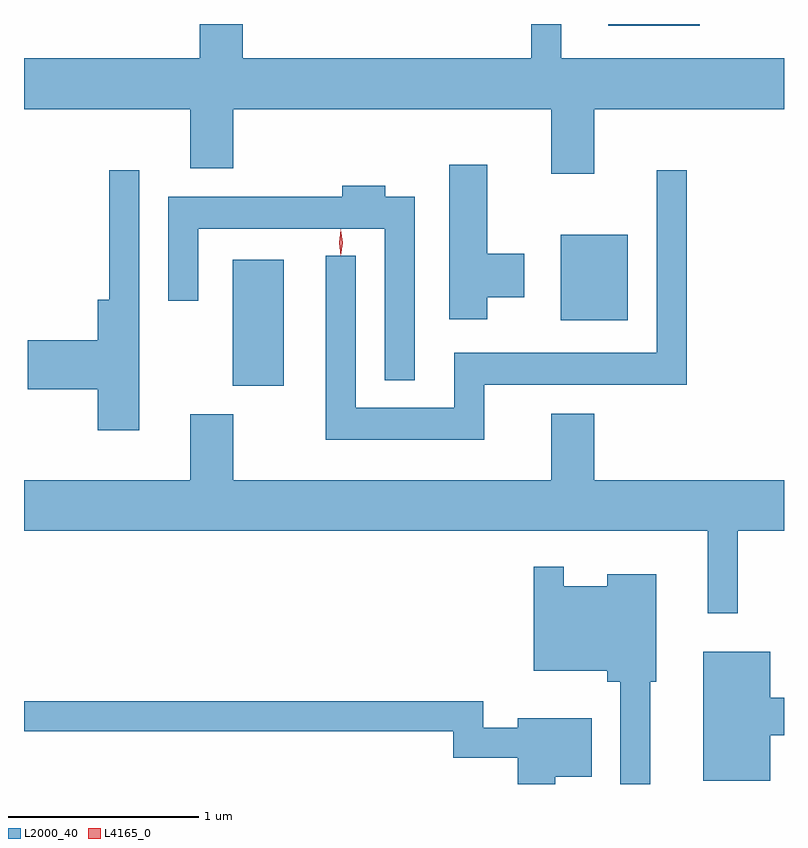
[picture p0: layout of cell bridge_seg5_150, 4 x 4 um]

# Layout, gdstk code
import gdstk
lib = gdstk.Library(unit=1e-6, precision=1e-09)
def R(c, l, rs):  # rectangles x0, y0, x1, y1
    for r in rs: c.add(gdstk.rectangle(r[:2], r[2:], *l))
def P(c, l, *ps):  # polygons
    for p in ps: c.add(gdstk.Polygon(p, *l))
L2000_40 = (2000, 40)
L4165_0 = (4165, 0)

bridge_seg5_150 = lib.new_cell('bridge_seg5_150')
R(bridge_seg5_150, L2000_40, [(1170.976,1413.161,1171.244,1413.824), (1172.701,1413.506,1173.054,1413.954), (1172.951,1415.056,1173.434,1415.064)])
P(bridge_seg5_150, L2000_40, [(1170.801,1414.884),(1169.877,1414.884),(1169.877,1414.616),(1170.751,1414.616),(1170.751,1414.306),(1170.979,1414.306),(1170.979,1414.616),(1172.651,1414.616),(1172.651,1414.276),(1172.879,1414.276),(1172.879,1414.616),(1173.877,1414.616),(1173.877,1414.884),(1172.704,1414.884),(1172.704,1415.064),(1172.546,1415.064),(1172.546,1414.884),(1171.029,1414.884),(1171.029,1415.064),(1170.801,1415.064)],
  [(1172.314,1413.626),(1172.509,1413.626),(1172.509,1413.854),(1172.314,1413.854),(1172.314,1414.324),(1172.116,1414.324),(1172.116,1413.511),(1172.314,1413.511)],
  [(1172.299,1413.166),(1173.364,1413.166),(1173.364,1414.293),(1173.206,1414.293),(1173.206,1413.334),(1172.141,1413.334),(1172.141,1413.044),(1171.624,1413.044),(1171.624,1413.843),(1171.466,1413.843),(1171.466,1412.876),(1172.299,1412.876)],
  [(1170.484,1414.293),(1170.326,1414.293),(1170.326,1413.614),(1170.266,1413.614),(1170.266,1413.399),(1169.896,1413.399),(1169.896,1413.141),(1170.266,1413.141),(1170.266,1412.926),(1170.484,1412.926)],
  [(1171.934,1414.154),(1171.779,1414.154),(1171.779,1414.214),(1171.551,1414.214),(1171.551,1414.154),(1170.636,1414.154),(1170.636,1413.608),(1170.794,1413.608),(1170.794,1413.986),(1171.776,1413.986),(1171.776,1413.188),(1171.934,1413.188)],
  [(1173.634,1412.396),(1173.877,1412.396),(1173.877,1412.664),(1172.879,1412.664),(1172.879,1413.014),(1172.651,1413.014),(1172.651,1412.664),(1170.979,1412.664),(1170.979,1413.009),(1170.751,1413.009),(1170.751,1412.664),(1169.877,1412.664),(1169.877,1412.396),(1173.476,1412.396),(1173.476,1411.963),(1173.634,1411.963)],
  [(1173.174,1411.601),(1173.204,1411.601),(1173.204,1412.169),(1172.946,1412.169),(1172.946,1412.104),(1172.719,1412.104),(1172.719,1412.208),(1172.561,1412.208),(1172.561,1411.661),(1172.946,1411.661),(1172.946,1411.601),(1173.016,1411.601),(1173.016,1411.064),(1173.174,1411.064)],
  [(1173.804,1411.321),(1173.877,1411.321),(1173.877,1411.519),(1173.804,1411.519),(1173.804,1411.759),(1173.451,1411.759),(1173.451,1411.081),(1173.804,1411.081)],
  [(1172.674,1411.101),(1172.864,1411.101),(1172.864,1411.409),(1172.476,1411.409),(1172.476,1411.359),(1172.294,1411.359),(1172.294,1411.499),(1169.877,1411.499),(1169.877,1411.341),(1172.136,1411.341),(1172.136,1411.201),(1172.476,1411.201),(1172.476,1411.064),(1172.674,1411.064)])
P(bridge_seg5_150, L4165_0, [(1171.545,1413.847),(1171.544,1413.848),(1171.535,1413.914),(1171.544,1413.98),(1171.545,1413.98),(1171.545,1413.98),(1171.555,1413.914),(1171.545,1413.848)],
  [(1171.544,1413.844),(1171.535,1413.914),(1171.544,1413.982),(1171.545,1413.983),(1171.545,1413.982),(1171.555,1413.914),(1171.545,1413.844),(1171.545,1413.844)])

lib.write_gds('bridge_seg5_150.gds')
